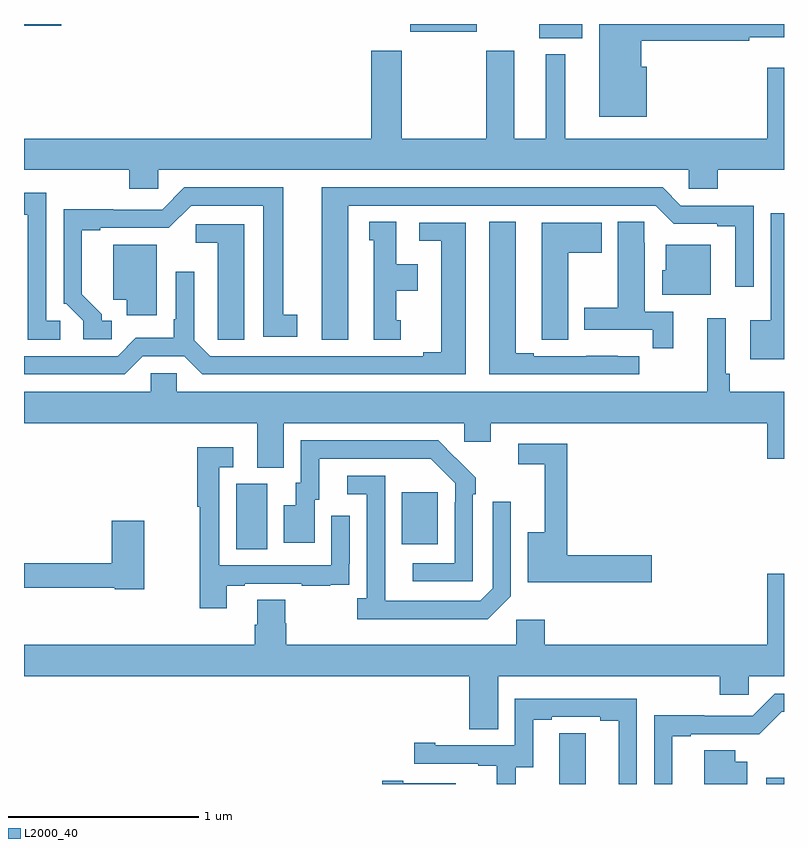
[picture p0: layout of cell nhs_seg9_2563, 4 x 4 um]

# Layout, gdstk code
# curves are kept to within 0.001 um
import gdstk
lib = gdstk.Library(unit=1e-6, precision=1e-09)
def R(c, l, rs):  # rectangles x0, y0, x1, y1
    for r in rs: c.add(gdstk.rectangle(r[:2], r[2:], *l))
def P(c, l, *ps):  # polygons
    for p in ps: c.add(gdstk.Polygon(p, *l))
L2000_40 = (2000, 40)

nhs_seg9_2563 = lib.new_cell('nhs_seg9_2563')
R(nhs_seg9_2563, L2000_40, [(260.907,1214.5,261,1214.533), (258.116,1215.736,258.28,1216.08), (258.989,1215.761,259.177,1216.036), (259.712,1218.425,259.939,1218.5), (259.034,1218.458,259.384,1218.5), (257,1218.491,257.197,1218.5)])
P(nhs_seg9_2563, L2000_40, [(260.278,1218.274),(260.248,1218.274),(260.248,1218.412),(260.816,1218.412),(260.816,1218.431),(261,1218.431),(261,1218.5),(260.027,1218.5),(260.027,1218.011),(260.278,1218.011)],
  [(257.706,1217.732),(260.499,1217.732),(260.499,1217.634),(260.651,1217.634),(260.651,1217.732),(261,1217.732),(261,1218.271),(260.912,1218.271),(260.912,1217.896),(259.849,1217.896),(259.849,1218.34),(259.745,1218.34),(259.745,1217.896),(259.579,1217.896),(259.579,1218.358),(259.432,1218.358),(259.432,1217.896),(258.987,1217.896),(258.987,1218.358),(258.827,1218.358),(258.827,1217.896),(257,1217.896),(257,1217.732),(257.555,1217.732),(257.555,1217.634),(257.706,1217.634)],
  [(258.706,1217.544),(260.325,1217.544),(260.421,1217.448),(260.648,1217.448),(260.648,1217.436),(260.744,1217.436),(260.744,1217.118),(260.841,1217.118),(260.841,1217.544),(260.457,1217.544),(260.361,1217.64),(258.566,1217.64),(258.566,1216.839),(258.706,1216.839)],
  [(257.461,1216.938),(257.41,1216.938),(257.41,1216.973),(257.305,1217.078),(257.305,1217.415),(257.401,1217.415),(257.401,1217.427),(257.763,1217.427),(257.88,1217.544),(258.26,1217.544),(258.26,1216.854),(258.439,1216.854),(258.439,1216.97),(258.364,1216.97),(258.364,1217.64),(257.844,1217.64),(257.727,1217.523),(257.471,1217.523),(257.471,1217.525),(257.208,1217.525),(257.208,1217.028),(257.223,1217.028),(257.313,1216.938),(257.313,1216.842),(257.461,1216.842)],
  [(257.191,1216.938),(257.118,1216.938),(257.118,1217.613),(257,1217.613),(257,1217.497),(257.021,1217.497),(257.021,1216.837),(257.191,1216.837)],
  [(261,1217.503),(260.931,1217.503),(260.931,1216.942),(260.822,1216.942),(260.822,1216.736),(261,1216.736)],
  [(260.239,1216.752),(260.126,1216.752),(260.126,1216.753),(259.96,1216.753),(259.96,1216.752),(259.684,1216.752),(259.684,1216.767),(259.588,1216.767),(259.588,1217.459),(259.448,1217.459),(259.448,1216.656),(260.239,1216.656)],
  [(260.416,1216.986),(260.266,1216.986),(260.266,1217.348),(260.265,1217.348),(260.265,1217.459),(260.126,1217.459),(260.126,1217.007),(259.949,1217.007),(259.949,1216.89),(260.308,1216.89),(260.308,1216.794),(260.416,1216.794)],
  [(258.982,1216.941),(258.958,1216.941),(258.958,1217.096),(259.072,1217.096),(259.072,1217.236),(258.958,1217.236),(258.958,1217.459),(258.818,1217.459),(258.818,1217.361),(258.842,1217.361),(258.842,1216.839),(258.982,1216.839)],
  [(259.864,1217.296),(260.041,1217.296),(260.041,1217.455),(259.724,1217.455),(259.724,1216.945),(259.725,1216.945),(259.725,1216.837),(259.864,1216.837)],
  [(257.625,1216.752),(257.843,1216.752),(257.939,1216.656),(259.324,1216.656),(259.324,1217.454),(259.08,1217.454),(259.08,1217.358),(259.196,1217.358),(259.196,1216.772),(259.1,1216.772),(259.1,1216.752),(257.979,1216.752),(257.895,1216.836),(257.895,1217.197),(257.799,1217.197),(257.799,1216.945),(257.787,1216.945),(257.787,1216.848),(257.589,1216.848),(257.493,1216.752),(257,1216.752),(257,1216.656),(257.529,1216.656)],
  [(258.16,1217.445),(257.904,1217.445),(257.904,1217.348),(258.02,1217.348),(258.02,1216.945),(258.021,1216.945),(258.021,1216.837),(258.16,1216.837)],
  [(260.614,1217.338),(260.378,1217.338),(260.378,1217.205),(260.36,1217.205),(260.36,1217.075),(260.614,1217.075)],
  [(257.698,1217.338),(257.471,1217.338),(257.471,1217.048),(257.54,1217.048),(257.54,1216.968),(257.698,1216.968)],
  [(258.367,1216.4),(259.317,1216.4),(259.317,1216.302),(259.456,1216.302),(259.456,1216.4),(260.912,1216.4),(260.912,1216.212),(261,1216.212),(261,1216.564),(260.714,1216.564),(260.714,1216.66),(260.694,1216.66),(260.694,1216.951),(260.597,1216.951),(260.597,1216.564),(257.805,1216.564),(257.805,1216.662),(257.667,1216.662),(257.667,1216.564),(257,1216.564),(257,1216.4),(258.227,1216.4),(258.227,1216.165),(258.367,1216.165)],
  [(259.362,1216.025),(259.377,1216.025),(259.377,1216.113),(259.18,1216.308),(258.456,1216.308),(258.456,1216.086),(258.431,1216.086),(258.431,1215.967),(258.368,1215.967),(258.368,1215.771),(258.529,1215.771),(258.529,1215.996),(258.553,1215.996),(258.553,1216.212),(259.141,1216.212),(259.269,1216.083),(259.269,1215.983),(259.266,1215.983),(259.266,1215.663),(259.047,1215.663),(259.047,1215.567),(259.362,1215.567)],
  [(260.305,1215.704),(259.859,1215.704),(259.859,1216.29),(259.602,1216.29),(259.602,1216.182),(259.742,1216.182),(259.742,1215.826),(259.652,1215.826),(259.652,1215.562),(260.305,1215.562)],
  [(258.067,1215.543),(258.163,1215.543),(258.163,1215.555),(258.463,1215.555),(258.463,1215.543),(258.611,1215.543),(258.611,1215.549),(258.713,1215.549),(258.713,1215.658),(258.714,1215.658),(258.714,1215.913),(258.618,1215.913),(258.618,1215.651),(258.027,1215.651),(258.027,1216.167),(258.1,1216.167),(258.1,1216.273),(257.911,1216.273),(257.911,1215.96),(257.926,1215.96),(257.926,1215.426),(258.067,1215.426)],
  [(259.563,1215.489),(259.563,1215.985),(259.467,1215.985),(259.467,1215.531),(259.401,1215.465),(258.901,1215.465),(258.9,1216.122),(258.702,1216.122),(258.702,1216.026),(258.804,1216.026),(258.804,1215.478),(258.753,1215.478),(258.753,1215.368),(259.442,1215.368)],
  [(257.632,1215.886),(257.462,1215.886),(257.462,1215.662),(257,1215.662),(257,1215.534),(257.478,1215.534),(257.478,1215.526),(257.632,1215.526)],
  [(259.495,1215.068),(260.663,1215.068),(260.663,1214.97),(260.814,1214.97),(260.814,1215.068),(261,1215.068),(261,1215.607),(260.912,1215.607),(260.912,1215.232),(259.742,1215.232),(259.742,1215.364),(259.59,1215.364),(259.59,1215.232),(258.38,1215.232),(258.38,1215.345),(258.375,1215.345),(258.375,1215.47),(258.227,1215.47),(258.227,1215.338),(258.215,1215.338),(258.215,1215.232),(257,1215.232),(257,1215.068),(259.343,1215.068),(259.343,1214.788),(259.495,1214.788)],
  [(260.413,1214.751),(260.509,1214.751),(260.509,1214.763),(260.87,1214.762),(260.988,1214.88),(261,1214.88),(261,1214.976),(260.952,1214.976),(260.835,1214.859),(260.579,1214.859),(260.579,1214.861),(260.316,1214.861),(260.316,1214.5),(260.413,1214.5)],
  [(259.587,1214.587),(259.681,1214.587),(259.681,1214.838),(259.777,1214.838),(259.777,1214.853),(260.033,1214.853),(260.033,1214.833),(260.129,1214.833),(260.129,1214.5),(260.226,1214.5),(260.226,1214.949),(259.584,1214.949),(259.584,1214.703),(259.165,1214.703),(259.165,1214.716),(259.053,1214.716),(259.053,1214.607),(259.391,1214.607),(259.391,1214.595),(259.487,1214.595),(259.487,1214.5),(259.587,1214.5)],
  [(259.957,1214.768),(259.818,1214.768),(259.818,1214.66),(259.817,1214.66),(259.817,1214.5),(259.957,1214.5)],
  [(260.806,1214.617),(260.743,1214.617),(260.743,1214.678),(260.579,1214.678),(260.579,1214.5),(260.806,1214.5)],
  [(259.273,1214.503),(258.997,1214.503),(258.997,1214.516),(258.885,1214.516),(258.885,1214.5),(259.273,1214.5)])

lib.write_gds('nhs_seg9_2563.gds')
